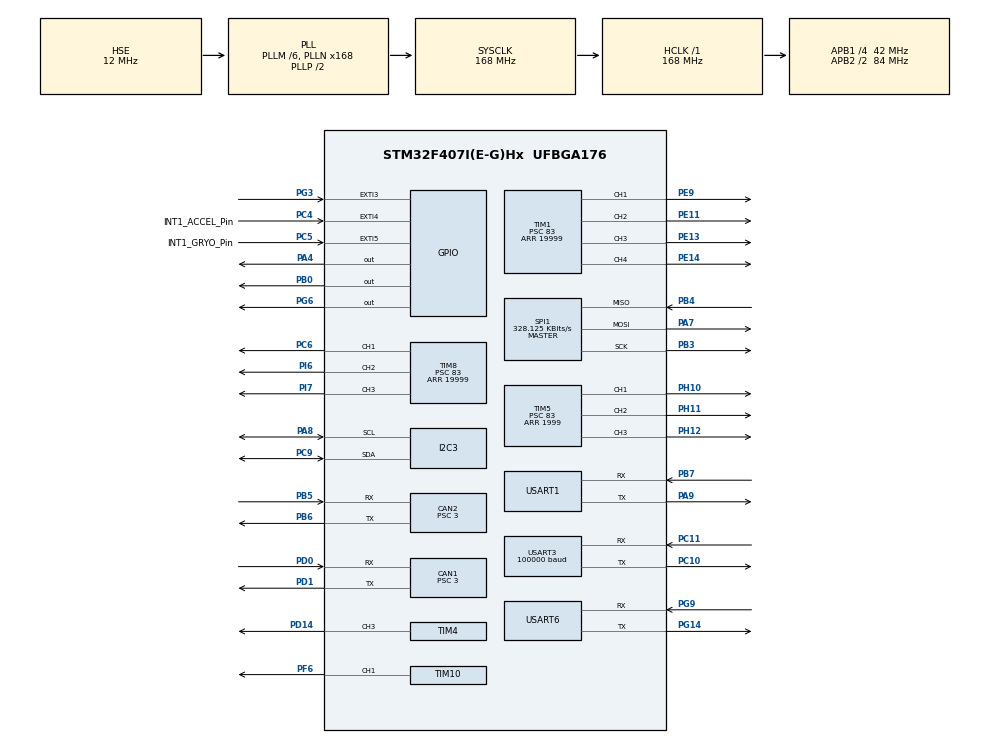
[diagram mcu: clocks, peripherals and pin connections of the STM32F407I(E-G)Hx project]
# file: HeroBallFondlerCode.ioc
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CAN1.BS1=CAN_BS1_10TQ
CAN1.BS2=CAN_BS2_3TQ
CAN1.CalculateBaudRate=1000000
CAN1.CalculateTimeBit=1000
CAN1.CalculateTimeQuantum=71.42857142857143
CAN1.Prescaler=3
CAN2.BS1=CAN_BS1_10TQ
CAN2.BS2=CAN_BS2_3TQ
CAN2.CalculateBaudRate=1000000
CAN2.CalculateTimeBit=1000
CAN2.CalculateTimeQuantum=71.42857142857143
CAN2.Prescaler=3
Dma.Request0=USART3_RX
Dma.Request1=USART1_TX
Dma.Request2=USART1_RX
Dma.Request3=USART6_RX
Dma.Request4=USART6_TX
Dma.Request5=TIM4_CH3
Dma.Request6=TIM5_CH1
Dma.Request7=TIM5_CH2
Dma.TIM4_CH3.5.Direction=DMA_PERIPH_TO_MEMORY
Dma.TIM4_CH3.5.FIFOMode=DMA_FIFOMODE_DISABLE
Dma.TIM4_CH3.5.Instance=DMA1_Stream7
Dma.TIM4_CH3.5.MemDataAlignment=DMA_MDATAALIGN_HALFWORD
Dma.TIM4_CH3.5.MemInc=DMA_MINC_ENABLE
Dma.TIM4_CH3.5.Mode=DMA_NORMAL
Dma.TIM4_CH3.5.PeriphDataAlignment=DMA_PDATAALIGN_HALFWORD
Dma.TIM4_CH3.5.PeriphInc=DMA_PINC_DISABLE
Dma.TIM4_CH3.5.Priority=DMA_PRIORITY_LOW
Dma.TIM5_CH1.6.Direction=DMA_PERIPH_TO_MEMORY
Dma.TIM5_CH1.6.FIFOMode=DMA_FIFOMODE_DISABLE
Dma.TIM5_CH1.6.Instance=DMA1_Stream2
Dma.TIM5_CH1.6.MemDataAlignment=DMA_MDATAALIGN_WORD
Dma.TIM5_CH1.6.MemInc=DMA_MINC_ENABLE
Dma.TIM5_CH1.6.Mode=DMA_NORMAL
Dma.TIM5_CH1.6.PeriphDataAlignment=DMA_PDATAALIGN_WORD
Dma.TIM5_CH1.6.PeriphInc=DMA_PINC_DISABLE
Dma.TIM5_CH1.6.Priority=DMA_PRIORITY_LOW
Dma.TIM5_CH2.7.Direction=DMA_PERIPH_TO_MEMORY
Dma.TIM5_CH2.7.FIFOMode=DMA_FIFOMODE_DISABLE
Dma.TIM5_CH2.7.Instance=DMA1_Stream4
Dma.TIM5_CH2.7.MemDataAlignment=DMA_MDATAALIGN_WORD
Dma.TIM5_CH2.7.MemInc=DMA_MINC_ENABLE
Dma.TIM5_CH2.7.Mode=DMA_NORMAL
Dma.TIM5_CH2.7.PeriphDataAlignment=DMA_PDATAALIGN_WORD
Dma.TIM5_CH2.7.PeriphInc=DMA_PINC_DISABLE
Dma.TIM5_CH2.7.Priority=DMA_PRIORITY_LOW
Dma.USART1_RX.2.Direction=DMA_PERIPH_TO_MEMORY
Dma.USART1_RX.2.FIFOMode=DMA_FIFOMODE_DISABLE
Dma.USART1_RX.2.Instance=DMA2_Stream2
Dma.USART1_RX.2.MemDataAlignment=DMA_MDATAALIGN_BYTE
Dma.USART1_RX.2.MemInc=DMA_MINC_ENABLE
Dma.USART1_RX.2.Mode=DMA_NORMAL
Dma.USART1_RX.2.PeriphDataAlignment=DMA_PDATAALIGN_BYTE
Dma.USART1_RX.2.PeriphInc=DMA_PINC_DISABLE
Dma.USART1_RX.2.Priority=DMA_PRIORITY_VERY_HIGH
Dma.USART1_TX.1.Direction=DMA_MEMORY_TO_PERIPH
Dma.USART1_TX.1.FIFOMode=DMA_FIFOMODE_DISABLE
Dma.USART1_TX.1.Instance=DMA2_Stream7
Dma.USART1_TX.1.MemDataAlignment=DMA_MDATAALIGN_BYTE
Dma.USART1_TX.1.MemInc=DMA_MINC_ENABLE
Dma.USART1_TX.1.Mode=DMA_NORMAL
Dma.USART1_TX.1.PeriphDataAlignment=DMA_PDATAALIGN_BYTE
Dma.USART1_TX.1.PeriphInc=DMA_PINC_DISABLE
Dma.USART1_TX.1.Priority=DMA_PRIORITY_VERY_HIGH
Dma.USART3_RX.0.Direction=DMA_PERIPH_TO_MEMORY
Dma.USART3_RX.0.FIFOMode=DMA_FIFOMODE_DISABLE
Dma.USART3_RX.0.Instance=DMA1_Stream1
Dma.USART3_RX.0.MemDataAlignment=DMA_MDATAALIGN_BYTE
Dma.USART3_RX.0.MemInc=DMA_MINC_ENABLE
Dma.USART3_RX.0.Mode=DMA_CIRCULAR
Dma.USART3_RX.0.PeriphDataAlignment=DMA_PDATAALIGN_BYTE
Dma.USART3_RX.0.PeriphInc=DMA_PINC_DISABLE
Dma.USART3_RX.0.Priority=DMA_PRIORITY_VERY_HIGH
Dma.USART6_RX.3.Direction=DMA_PERIPH_TO_MEMORY
Dma.USART6_RX.3.FIFOMode=DMA_FIFOMODE_DISABLE
Dma.USART6_RX.3.Instance=DMA2_Stream1
Dma.USART6_RX.3.MemDataAlignment=DMA_MDATAALIGN_BYTE
Dma.USART6_RX.3.MemInc=DMA_MINC_ENABLE
Dma.USART6_RX.3.Mode=DMA_NORMAL
Dma.USART6_RX.3.PeriphDataAlignment=DMA_PDATAALIGN_BYTE
Dma.USART6_RX.3.PeriphInc=DMA_PINC_DISABLE
Dma.USART6_RX.3.Priority=DMA_PRIORITY_VERY_HIGH
Dma.USART6_TX.4.Direction=DMA_MEMORY_TO_PERIPH
Dma.USART6_TX.4.FIFOMode=DMA_FIFOMODE_DISABLE
Dma.USART6_TX.4.Instance=DMA2_Stream6
Dma.USART6_TX.4.MemDataAlignment=DMA_MDATAALIGN_BYTE
Dma.USART6_TX.4.MemInc=DMA_MINC_ENABLE
Dma.USART6_TX.4.Mode=DMA_NORMAL
Dma.USART6_TX.4.PeriphDataAlignment=DMA_PDATAALIGN_BYTE
Dma.USART6_TX.4.PeriphInc=DMA_PINC_DISABLE
Dma.USART6_TX.4.Priority=DMA_PRIORITY_VERY_HIGH
FREERTOS.INCLUDE_pcTaskGetTaskName=1
FREERTOS.INCLUDE_xTaskGetHandle=1
FREERTOS.Tasks01=defaultTask,32,1024,TaskMain,Default,NULL,Dynamic,NULL,NULL;chassisTask,40,1124,TaskChassis,Default,NULL,Dynamic,NULL,NULL;IMUtempPIDtask,24,512,imu_temp_control_task,As weak,NULL,Dynamic,NULL,NULL;turretTask,40,1024,TaskTurret,Default,NULL,Dynamic,NULL,NULL
FREERTOS.configUSE_NEWLIB_REENTRANT=1
I2C3.I2C_Mode=I2C_Fast
Mcu.Family=STM32F4
Mcu.Name=STM32F407I(E-G)Hx
Mcu.Package=UFBGA176
NVIC.CAN1_RX0_IRQn=true\:5\:0\:false\:false\:true\:true\:true\:true\:true
NVIC.CAN2_RX0_IRQn=true\:5\:0\:false\:false\:true\:true\:true\:true\:true
NVIC.DMA1_Stream1_IRQn=true\:5\:0\:false\:false\:true\:true\:false\:true\:true
NVIC.DMA1_Stream2_IRQn=true\:5\:0\:false\:false\:true\:true\:false\:true\:true
NVIC.DMA1_Stream4_IRQn=true\:5\:0\:false\:false\:true\:true\:false\:true\:true
NVIC.DMA1_Stream7_IRQn=true\:5\:0\:false\:false\:true\:true\:false\:true\:true
NVIC.DMA2_Stream1_IRQn=true\:5\:0\:false\:false\:true\:true\:false\:true\:true
NVIC.DMA2_Stream2_IRQn=true\:5\:0\:false\:false\:true\:true\:false\:true\:true
NVIC.DMA2_Stream6_IRQn=true\:5\:0\:false\:false\:true\:true\:false\:true\:true
NVIC.DMA2_Stream7_IRQn=true\:5\:0\:false\:false\:true\:true\:false\:true\:true
NVIC.EXTI3_IRQn=true\:5\:0\:false\:false\:true\:true\:true\:true\:true
NVIC.EXTI4_IRQn=true\:5\:0\:false\:false\:true\:true\:true\:true\:true
NVIC.PriorityGroup=NVIC_PRIORITYGROUP_4
NVIC.USART1_IRQn=true\:5\:0\:false\:false\:true\:true\:true\:true\:true
NVIC.USART3_IRQn=true\:5\:0\:false\:false\:false\:true\:true\:true\:true
NVIC.USART6_IRQn=true\:5\:0\:false\:false\:true\:true\:true\:true\:true
PA13.Mode=Serial_Wire
PA13.Signal=SYS_JTMS-SWDIO
PA14.Mode=Serial_Wire
PA14.Signal=SYS_JTCK-SWCLK
PA4.Signal=GPIO_Output
PA7.Mode=Full_Duplex_Master
PA7.Signal=SPI1_MOSI
PA8.Mode=I2C
PA8.Signal=I2C3_SCL
PA9.Mode=Asynchronous
PA9.Signal=USART1_TX
PB0.Signal=GPIO_Output
PB3.Mode=Full_Duplex_Master
PB3.Signal=SPI1_SCK
PB4.Mode=Full_Duplex_Master
PB4.Signal=SPI1_MISO
PB5.Mode=CAN_Activate
PB5.Signal=CAN2_RX
PB6.Mode=CAN_Activate
PB6.Signal=CAN2_TX
PB7.Mode=Asynchronous
PB7.Signal=USART1_RX
PC10.Mode=Asynchronous
PC10.Signal=USART3_TX
PC11.Mode=Asynchronous
PC11.Signal=USART3_RX
PC4.GPIO_Label=INT1_ACCEL_Pin
PC4.Signal=GPXTI4
PC5.GPIO_Label=INT1_GRYO_Pin
PC5.Signal=GPXTI5
PC6.Signal=S_TIM8_CH1
PC9.Mode=I2C
PC9.Signal=I2C3_SDA
PD0.Mode=CAN_Activate
PD0.Signal=CAN1_RX
PD1.Mode=CAN_Activate
PD1.Signal=CAN1_TX
PD14.Signal=S_TIM4_CH3
PE11.Signal=S_TIM1_CH2
PE13.Signal=S_TIM1_CH3
PE14.Signal=S_TIM1_CH4
PE9.Signal=S_TIM1_CH1
PF6.GPIO_PuPd=GPIO_PULLUP
PF6.GPIO_Speed=GPIO_SPEED_FREQ_HIGH
PF6.Signal=S_TIM10_CH1
PG14.Mode=Asynchronous
PG14.Signal=USART6_TX
PG3.Signal=GPXTI3
PG6.Signal=GPIO_Output
PG9.Mode=Asynchronous
PG9.Signal=USART6_RX
PH0-OSC_IN.Mode=HSE-External-Oscillator
PH0-OSC_IN.Signal=RCC_OSC_IN
PH1-OSC_OUT.Mode=HSE-External-Oscillator
PH1-OSC_OUT.Signal=RCC_OSC_OUT
PH10.Signal=S_TIM5_CH1
PH11.Signal=S_TIM5_CH2
PH12.Signal=S_TIM5_CH3
PI6.Signal=S_TIM8_CH2
PI7.Signal=S_TIM8_CH3
ProjectManager.HeapSize=0x200
ProjectManager.StackSize=0x400
ProjectManager.TargetToolchain=STM32CubeIDE
RCC.48MHZClocksFreq_Value=84000000
RCC.AHBFreq_Value=168000000
RCC.APB1CLKDivider=RCC_HCLK_DIV4
RCC.APB1Freq_Value=42000000
RCC.APB1TimFreq_Value=84000000
RCC.APB2CLKDivider=RCC_HCLK_DIV2
RCC.APB2Freq_Value=84000000
RCC.APB2TimFreq_Value=168000000
RCC.CortexFreq_Value=168000000
RCC.EnbaleCSS=true
RCC.HCLKFreq_Value=168000000
RCC.HSE_VALUE=12000000
RCC.HSI_VALUE=16000000
RCC.LSE_VALUE=32768
RCC.PLLM=6
RCC.PLLN=168
RCC.PLLSourceVirtual=RCC_PLLSOURCE_HSE
RCC.SYSCLKFreq_VALUE=168000000
RCC.SYSCLKSource=RCC_SYSCLKSOURCE_PLLCLK
RCC.VCOOutputFreq_Value=336000000
SH.S_TIM10_CH1.0=TIM10_CH1,PWM Generation1 CH1
SH.S_TIM1_CH1.0=TIM1_CH1,PWM Generation1 CH1
SH.S_TIM1_CH2.0=TIM1_CH2,PWM Generation2 CH2
SH.S_TIM1_CH3.0=TIM1_CH3,PWM Generation3 CH3
SH.S_TIM1_CH4.0=TIM1_CH4,PWM Generation4 CH4
SH.S_TIM4_CH3.0=TIM4_CH3,PWM Generation3 CH3
SH.S_TIM5_CH1.0=TIM5_CH1,PWM Generation1 CH1
SH.S_TIM5_CH2.0=TIM5_CH2,PWM Generation2 CH2
SH.S_TIM5_CH3.0=TIM5_CH3,PWM Generation3 CH3
SH.S_TIM8_CH1.0=TIM8_CH1,PWM Generation1 CH1
SH.S_TIM8_CH2.0=TIM8_CH2,PWM Generation2 CH2
SH.S_TIM8_CH3.0=TIM8_CH3,PWM Generation3 CH3
SPI1.BaudRatePrescaler=SPI_BAUDRATEPRESCALER_256
SPI1.CLKPhase=SPI_PHASE_2EDGE
SPI1.CLKPolarity=SPI_POLARITY_HIGH
SPI1.CalculateBaudRate=328.125 KBits/s
SPI1.Direction=SPI_DIRECTION_2LINES
SPI1.Mode=SPI_MODE_MASTER
SPI1.VirtualType=VM_MASTER
TIM1.AutoReloadPreload=TIM_AUTORELOAD_PRELOAD_DISABLE
TIM1.Channel-PWM\ Generation1\ CH1=TIM_CHANNEL_1
TIM1.Channel-PWM\ Generation2\ CH2=TIM_CHANNEL_2
TIM1.Channel-PWM\ Generation3\ CH3=TIM_CHANNEL_3
TIM1.Channel-PWM\ Generation4\ CH4=TIM_CHANNEL_4
TIM1.Period=19999
TIM1.Prescaler=83
TIM1.Pulse-PWM\ Generation1\ CH1=0
TIM10.Channel=TIM_CHANNEL_1
TIM10.Period=4999
TIM4.AutoReloadPreload=TIM_AUTORELOAD_PRELOAD_ENABLE
TIM4.Channel-PWM\ Generation3\ CH3=TIM_CHANNEL_3
TIM4.Period=20999
TIM4.Prescaler=83
TIM4.Pulse-PWM\ Generation3\ CH3=10499
TIM5.Channel-PWM\ Generation1\ CH1=TIM_CHANNEL_1
TIM5.Channel-PWM\ Generation2\ CH2=TIM_CHANNEL_2
TIM5.Channel-PWM\ Generation3\ CH3=TIM_CHANNEL_3
TIM5.Period=1999
TIM5.Prescaler=83
TIM8.AutoReloadPreload=TIM_AUTORELOAD_PRELOAD_ENABLE
TIM8.Channel-PWM\ Generation1\ CH1=TIM_CHANNEL_1
TIM8.Channel-PWM\ Generation2\ CH2=TIM_CHANNEL_2
TIM8.Channel-PWM\ Generation3\ CH3=TIM_CHANNEL_3
TIM8.Period=19999
TIM8.Prescaler=83
USART1.VirtualMode=VM_ASYNC
USART3.BaudRate=100000
USART3.Parity=PARITY_EVEN
USART3.VirtualMode=VM_ASYNC
USART6.VirtualMode=VM_ASYNC
VP_FREERTOS_VS_CMSIS_V2.Mode=CMSIS_V2
VP_TIM10_VS_ClockSourceINT.Mode=Enable_Timer
VP_TIM4_VS_ClockSourceINT.Mode=Internal
board=custom

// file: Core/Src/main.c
/* USER CODE BEGIN Header */
/**
  ******************************************************************************
  * @file           : main.c
  * @brief          : Main program body
  ******************************************************************************
  * @attention
  *
  * Copyright (c) 2024 STMicroelectronics.
  * All rights reserved.
  *
  * This software is licensed under terms that can be found in the LICENSE file
  * in the root directory of this software component.
  * If no LICENSE file comes with this software, it is provided AS-IS.
  *
  ******************************************************************************
  */
/* USER CODE END Header */
#include "main.h"
#include "cmsis_os.h"

/* USER CODE BEGIN Includes */
//#include "CAN_receive.h"
#include "CAN.h"
#include "bsp_can.h"
#include "remote_control.h"
#include "bsp_rc.h"
#include "UART.h"
#include "stdio.h"
#include "stdarg.h"
#include "string.h"
#include "BMI088driver.h"
#include "pid.h"
#include "bsp_imu_pwm.h"
#include "ist8310driver.h"
#include "pwm.h"
#include "songs.h"
#include "buffer.h"
#include "math.h"
#include "driving.h"
#include "I2C.h"
/* USER CODE END Includes */

CAN_HandleTypeDef hcan1;
CAN_HandleTypeDef hcan2;

I2C_HandleTypeDef hi2c3;

SPI_HandleTypeDef hspi1;

TIM_HandleTypeDef htim1;
TIM_HandleTypeDef htim4;
TIM_HandleTypeDef htim5;
TIM_HandleTypeDef htim8;
TIM_HandleTypeDef htim10;
DMA_HandleTypeDef hdma_tim4_ch3;
DMA_HandleTypeDef hdma_tim5_ch1;
DMA_HandleTypeDef hdma_tim5_ch2;

UART_HandleTypeDef huart1;
UART_HandleTypeDef huart3;
UART_HandleTypeDef huart6;
DMA_HandleTypeDef hdma_usart1_tx;
DMA_HandleTypeDef hdma_usart1_rx;
DMA_HandleTypeDef hdma_usart3_rx;
DMA_HandleTypeDef hdma_usart6_rx;
DMA_HandleTypeDef hdma_usart6_tx;

/* Definitions for defaultTask */
osThreadId_t defaultTaskHandle;
const osThreadAttr_t defaultTask_attributes = {
  .name = "defaultTask",
  .stack_size = 1024 * 4,
  .priority = (osPriority_t) osPriorityAboveNormal,
};
/* Definitions for chassisTask */
osThreadId_t chassisTaskHandle;
const osThreadAttr_t chassisTask_attributes = {
  .name = "chassisTask",
  .stack_size = 1124 * 4,
  .priority = (osPriority_t) osPriorityHigh,
};
/* Definitions for IMUtempPIDtask */
osThreadId_t IMUtempPIDtaskHandle;
const osThreadAttr_t IMUtempPIDtask_attributes = {
  .name = "IMUtempPIDtask",
  .stack_size = 512 * 4,
  .priority = (osPriority_t) osPriorityNormal,
};
/* Definitions for turretTask */
osThreadId_t turretTaskHandle;
const osThreadAttr_t turretTask_attributes = {
  .name = "turretTask",
  .stack_size = 1024 * 4,
  .priority = (osPriority_t) osPriorityHigh,
};
/* USER CODE BEGIN PV */
const RC_ctrl_t *local_rc_ctrl;
//3.6 0.015, 4.2
PID_preset_t chassisPreset = {3.6, 0, 0};  //0.8f, 0.025f, 0.95f   {1.6, 0.045, 0.10}; 32 0.4
PID_preset_t yawPresetCurrentRPM = {46, 10.0, 16.4};

PID_preset_t yawPresetVoltageRPM = {300, 0, 0};

PID_preset_t yawPresetCurrentPosition = {12, 1, 0.0};
PID_preset_t yawPresetVoltagePosition = {36, 0.3, 0.0};

int16_t joystickTunner = 0;

// 50, 0, 110
PID_preset_t pitchPresetVoltagePosition = {70.0, 0.0, 421.0};
PID_preset_t indexerPreset = {1.1f, 0.02f, -2.4f};
PID_preset_t shooterPreset = {1.20f, 0.12f, 1.60f};
PID_preset_t powerPreset = {0, 0.000000000001, 0};
PID_preset_t flywheel = {12, 0, 0};
PID_preset_t customPreset = {0, 0, 0};

int target = 2000;
float JoulesBuffer = 60;
float maxPower = 0;

uint8_t currentGameStatus = 0;
uint8_t calibration = 0;
uint8_t rotationTime = 0;
uint8_t shootingPhase = 0;
uint8_t songPhase = 0;
uint8_t firingStages = 0;
uint8_t SHOOT = 0;

uint8_t setY = 70;
uint8_t setX = 120;

float mouseXScaler = 0.85;
float mouseYScaler = 0.17;

extern game_status_t game_status;
extern power_heat_data_t power_heat_data;
extern robot_status_t robot_status;
extern pc_control_t pc_control;
extern cv_receive_t cv_receive;

float calcChassisPower = 0;

/* USER CODE END PV */

void SystemClock_Config(void);
static void MX_GPIO_Init(void);
static void MX_DMA_Init(void);
static void MX_CAN1_Init(void);
static void MX_CAN2_Init(void);
static void MX_SPI1_Init(void);
static void MX_TIM4_Init(void);
static void MX_USART1_UART_Init(void);
static void MX_USART6_UART_Init(void);
static void MX_TIM1_Init(void);
static void MX_TIM8_Init(void);
static void MX_USART3_UART_Init(void);
static void MX_TIM10_Init(void);
static void MX_I2C3_Init(void);
static void MX_TIM5_Init(void);
void TaskMain(void *argument);
void TaskChassis(void *argument);
void imu_temp_control_task(void *argument);
void TaskTurret(void *argument);

int main(void)
{

  /* MCU Configuration--------------------------------------------------------*/

  /* Reset of all peripherals, Initializes the Flash interface and the Systick. */
  HAL_Init();

  /* Configure the system clock */
  SystemClock_Config();

  /* Initialize all configured peripherals */
  MX_GPIO_Init();
  MX_DMA_Init();
  MX_CAN1_Init();
  MX_CAN2_Init();
  MX_SPI1_Init();
  MX_TIM4_Init();
  MX_USART1_UART_Init();
  MX_USART6_UART_Init();
  MX_TIM1_Init();
  MX_TIM8_Init();
  MX_USART3_UART_Init();
  MX_TIM10_Init();
  MX_I2C3_Init();
  MX_TIM5_Init();
  /* USER CODE BEGIN 2 */
  can_filter_init();
  remote_control_init();
  usart_Init();
  local_rc_ctrl = get_remote_control_point();
  //__HAL_UART_ENABLE_IT(&huart1,UART_IT_IDLE);
  /* USER CODE END 2 */

  /* Init scheduler */
  osKernelInitialize();

  /* Create the thread(s) */
  /* creation of defaultTask */
  defaultTaskHandle = osThreadNew(TaskMain, NULL, &defaultTask_attributes);

  /* creation of chassisTask */
  chassisTaskHandle = osThreadNew(TaskChassis, NULL, &chassisTask_attributes);

  /* creation of IMUtempPIDtask */
  IMUtempPIDtaskHandle = osThreadNew(imu_temp_control_task, NULL, &IMUtempPIDtask_attributes);

  /* creation of turretTask */
  turretTaskHandle = osThreadNew(TaskTurret, NULL, &turretTask_attributes);

  /* Start scheduler */
  osKernelStart();

  /* We should never get here as control is now taken by the scheduler */

  /* Infinite loop */
  while (1)
  {

  }
}

void SystemClock_Config(void)
{
  RCC_OscInitTypeDef RCC_OscInitStruct = {0};
  RCC_ClkInitTypeDef RCC_ClkInitStruct = {0};

  /** Configure the main internal regulator output voltage
  */
  __HAL_RCC_PWR_CLK_ENABLE();
  __HAL_PWR_VOLTAGESCALING_CONFIG(PWR_REGULATOR_VOLTAGE_SCALE1);

  /** Initializes the RCC Oscillators according to the specified parameters
  * in the RCC_OscInitTypeDef structure.
  */
  RCC_OscInitStruct.OscillatorType = RCC_OSCILLATORTYPE_HSE;
  RCC_OscInitStruct.HSEState = RCC_HSE_ON;
  RCC_OscInitStruct.PLL.PLLState = RCC_PLL_ON;
  RCC_OscInitStruct.PLL.PLLSource = RCC_PLLSOURCE_HSE;
  RCC_OscInitStruct.PLL.PLLM = 6;
  RCC_OscInitStruct.PLL.PLLN = 168;
  RCC_OscInitStruct.PLL.PLLP = RCC_PLLP_DIV2;
  RCC_OscInitStruct.PLL.PLLQ = 4;
  if (HAL_RCC_OscConfig(&RCC_OscInitStruct) != HAL_OK)
  {
    Error_Handler();
  }

  /** Initializes the CPU, AHB and APB buses clocks
  */
  RCC_ClkInitStruct.ClockType = RCC_CLOCKTYPE_HCLK|RCC_CLOCKTYPE_SYSCLK
                              |RCC_CLOCKTYPE_PCLK1|RCC_CLOCKTYPE_PCLK2;
  RCC_ClkInitStruct.SYSCLKSource = RCC_SYSCLKSOURCE_PLLCLK;
  RCC_ClkInitStruct.AHBCLKDivider = RCC_SYSCLK_DIV1;
  RCC_ClkInitStruct.APB1CLKDivider = RCC_HCLK_DIV4;
  RCC_ClkInitStruct.APB2CLKDivider = RCC_HCLK_DIV2;

  if (HAL_RCC_ClockConfig(&RCC_ClkInitStruct, FLASH_LATENCY_5) != HAL_OK)
  {
    Error_Handler();
  }

  /** Enables the Clock Security System
  */
  HAL_RCC_EnableCSS();
}

static void MX_CAN1_Init(void)
{

  hcan1.Instance = CAN1;
  hcan1.Init.Prescaler = 3;
  hcan1.Init.Mode = CAN_MODE_NORMAL;
  hcan1.Init.SyncJumpWidth = CAN_SJW_1TQ;
  hcan1.Init.TimeSeg1 = CAN_BS1_10TQ;
  hcan1.Init.TimeSeg2 = CAN_BS2_3TQ;
  hcan1.Init.TimeTriggeredMode = DISABLE;
  hcan1.Init.AutoBusOff = DISABLE;
  hcan1.Init.AutoWakeUp = DISABLE;
  hcan1.Init.AutoRetransmission = DISABLE;
  hcan1.Init.ReceiveFifoLocked = DISABLE;
  hcan1.Init.TransmitFifoPriority = DISABLE;
  if (HAL_CAN_Init(&hcan1) != HAL_OK)
  {
    Error_Handler();
  }

}

static void MX_CAN2_Init(void)
{

  hcan2.Instance = CAN2;
  hcan2.Init.Prescaler = 3;
  hcan2.Init.Mode = CAN_MODE_NORMAL;
  hcan2.Init.SyncJumpWidth = CAN_SJW_1TQ;
  hcan2.Init.TimeSeg1 = CAN_BS1_10TQ;
  hcan2.Init.TimeSeg2 = CAN_BS2_3TQ;
  hcan2.Init.TimeTriggeredMode = DISABLE;
  hcan2.Init.AutoBusOff = DISABLE;
  hcan2.Init.AutoWakeUp = DISABLE;
  hcan2.Init.AutoRetransmission = DISABLE;
  hcan2.Init.ReceiveFifoLocked = DISABLE;
  hcan2.Init.TransmitFifoPriority = DISABLE;
  if (HAL_CAN_Init(&hcan2) != HAL_OK)
  {
    Error_Handler();
  }

}

static void MX_I2C3_Init(void)
{

  hi2c3.Instance = I2C3;
  hi2c3.Init.ClockSpeed = 400000;
  hi2c3.Init.DutyCycle = I2C_DUTYCYCLE_2;
  hi2c3.Init.OwnAddress1 = 0;
  hi2c3.Init.AddressingMode = I2C_ADDRESSINGMODE_7BIT;
  hi2c3.Init.DualAddressMode = I2C_DUALADDRESS_DISABLE;
  hi2c3.Init.OwnAddress2 = 0;
  hi2c3.Init.GeneralCallMode = I2C_GENERALCALL_DISABLE;
  hi2c3.Init.NoStretchMode = I2C_NOSTRETCH_DISABLE;
  if (HAL_I2C_Init(&hi2c3) != HAL_OK)
  {
    Error_Handler();
  }

}

static void MX_SPI1_Init(void)
{

  /* SPI1 parameter configuration*/
  hspi1.Instance = SPI1;
  hspi1.Init.Mode = SPI_MODE_MASTER;
  hspi1.Init.Direction = SPI_DIRECTION_2LINES;
  hspi1.Init.DataSize = SPI_DATASIZE_8BIT;
  hspi1.Init.CLKPolarity = SPI_POLARITY_HIGH;
  hspi1.Init.CLKPhase = SPI_PHASE_2EDGE;
  hspi1.Init.NSS = SPI_NSS_SOFT;
  hspi1.Init.BaudRatePrescaler = SPI_BAUDRATEPRESCALER_256;
  hspi1.Init.FirstBit = SPI_FIRSTBIT_MSB;
  hspi1.Init.TIMode = SPI_TIMODE_DISABLE;
  hspi1.Init.CRCCalculation = SPI_CRCCALCULATION_DISABLE;
  hspi1.Init.CRCPolynomial = 10;
  if (HAL_SPI_Init(&hspi1) != HAL_OK)
  {
    Error_Handler();
  }

}

static void MX_TIM1_Init(void)
{

  TIM_MasterConfigTypeDef sMasterConfig = {0};
  TIM_OC_InitTypeDef sConfigOC = {0};
  TIM_BreakDeadTimeConfigTypeDef sBreakDeadTimeConfig = {0};

  htim1.Instance = TIM1;
  htim1.Init.Prescaler = 83;
  htim1.Init.CounterMode = TIM_COUNTERMODE_UP;
  htim1.Init.Period = 19999;
  htim1.Init.ClockDivision = TIM_CLOCKDIVISION_DIV1;
  htim1.Init.RepetitionCounter = 0;
  htim1.Init.AutoReloadPreload = TIM_AUTORELOAD_PRELOAD_DISABLE;
  if (HAL_TIM_PWM_Init(&htim1) != HAL_OK)
  {
    Error_Handler();
  }
  sMasterConfig.MasterOutputTrigger = TIM_TRGO_RESET;
  sMasterConfig.MasterSlaveMode = TIM_MASTERSLAVEMODE_DISABLE;
  if (HAL_TIMEx_MasterConfigSynchronization(&htim1, &sMasterConfig) != HAL_OK)
  {
    Error_Handler();
  }
  sConfigOC.OCMode = TIM_OCMODE_PWM1;
  sConfigOC.Pulse = 0;
  sConfigOC.OCPolarity = TIM_OCPOLARITY_HIGH;
  sConfigOC.OCNPolarity = TIM_OCNPOLARITY_HIGH;
  sConfigOC.OCFastMode = TIM_OCFAST_DISABLE;
  sConfigOC.OCIdleState = TIM_OCIDLESTATE_RESET;
  sConfigOC.OCNIdleState = TIM_OCNIDLESTATE_RESET;
  if (HAL_TIM_PWM_ConfigChannel(&htim1, &sConfigOC, TIM_CHANNEL_1) != HAL_OK)
  {
    Error_Handler();
  }
  if (HAL_TIM_PWM_ConfigChannel(&htim1, &sConfigOC, TIM_CHANNEL_2) != HAL_OK)
  {
    Error_Handler();
  }
  if (HAL_TIM_PWM_ConfigChannel(&htim1, &sConfigOC, TIM_CHANNEL_3) != HAL_OK)
  {
    Error_Handler();
  }
  if (HAL_TIM_PWM_ConfigChannel(&htim1, &sConfigOC, TIM_CHANNEL_4) != HAL_OK)
  {
    Error_Handler();
  }
  sBreakDeadTimeConfig.OffStateRunMode = TIM_OSSR_DISABLE;
  sBreakDeadTimeConfig.OffStateIDLEMode = TIM_OSSI_DISABLE;
  sBreakDeadTimeConfig.LockLevel = TIM_LOCKLEVEL_OFF;
  sBreakDeadTimeConfig.DeadTime = 0;
  sBreakDeadTimeConfig.BreakState = TIM_BREAK_DISABLE;
  sBreakDeadTimeConfig.BreakPolarity = TIM_BREAKPOLARITY_HIGH;
  sBreakDeadTimeConfig.AutomaticOutput = TIM_AUTOMATICOUTPUT_DISABLE;
  if (HAL_TIMEx_ConfigBreakDeadTime(&htim1, &sBreakDeadTimeConfig) != HAL_OK)
  {
    Error_Handler();
  }
  HAL_TIM_MspPostInit(&htim1);

}

static void MX_TIM4_Init(void)
{

  TIM_ClockConfigTypeDef sClockSourceConfig = {0};
  TIM_MasterConfigTypeDef sMasterConfig = {0};
  TIM_OC_InitTypeDef sConfigOC = {0};

  htim4.Instance = TIM4;
  htim4.Init.Prescaler = 83;
  htim4.Init.CounterMode = TIM_COUNTERMODE_UP;
  htim4.Init.Period = 20999;
  htim4.Init.ClockDivision = TIM_CLOCKDIVISION_DIV1;
  htim4.Init.AutoReloadPreload = TIM_AUTORELOAD_PRELOAD_ENABLE;
  if (HAL_TIM_Base_Init(&htim4) != HAL_OK)
  {
    Error_Handler();
  }
  sClockSourceConfig.ClockSource = TIM_CLOCKSOURCE_INTERNAL;
  if (HAL_TIM_ConfigClockSource(&htim4, &sClockSourceConfig) != HAL_OK)
  {
    Error_Handler();
  }
  if (HAL_TIM_PWM_Init(&htim4) != HAL_OK)
  {
    Error_Handler();
  }
  sMasterConfig.MasterOutputTrigger = TIM_TRGO_RESET;
  sMasterConfig.MasterSlaveMode = TIM_MASTERSLAVEMODE_DISABLE;
  if (HAL_TIMEx_MasterConfigSynchronization(&htim4, &sMasterConfig) != HAL_OK)
  {
    Error_Handler();
  }
  sConfigOC.OCMode = TIM_OCMODE_PWM1;
  sConfigOC.Pulse = 10499;
  sConfigOC.OCPolarity = TIM_OCPOLARITY_HIGH;
  sConfigOC.OCFastMode = TIM_OCFAST_DISABLE;
  if (HAL_TIM_PWM_ConfigChannel(&htim4, &sConfigOC, TIM_CHANNEL_3) != HAL_OK)
  {
    Error_Handler();
  }
  HAL_TIM_MspPostInit(&htim4);

}

static void MX_TIM5_Init(void)
{

  TIM_MasterConfigTypeDef sMasterConfig = {0};
  TIM_OC_InitTypeDef sConfigOC = {0};

  htim5.Instance = TIM5;
  htim5.Init.Prescaler = 83;
  htim5.Init.CounterMode = TIM_COUNTERMODE_UP;
  htim5.Init.Period = 1999;
  htim5.Init.ClockDivision = TIM_CLOCKDIVISION_DIV1;
  htim5.Init.AutoReloadPreload = TIM_AUTORELOAD_PRELOAD_DISABLE;
  if (HAL_TIM_PWM_Init(&htim5) != HAL_OK)
  {
    Error_Handler();
  }
  sMasterConfig.MasterOutputTrigger = TIM_TRGO_RESET;
  sMasterConfig.MasterSlaveMode = TIM_MASTERSLAVEMODE_DISABLE;
  if (HAL_TIMEx_MasterConfigSynchronization(&htim5, &sMasterConfig) != HAL_OK)
  {
    Error_Handler();
  }
  sConfigOC.OCMode = TIM_OCMODE_PWM1;
  sConfigOC.Pulse = 0;
  sConfigOC.OCPolarity = TIM_OCPOLARITY_HIGH;
  sConfigOC.OCFastMode = TIM_OCFAST_DISABLE;
  if (HAL_TIM_PWM_ConfigChannel(&htim5, &sConfigOC, TIM_CHANNEL_1) != HAL_OK)
  {
    Error_Handler();
  }
  if (HAL_TIM_PWM_ConfigChannel(&htim5, &sConfigOC, TIM_CHANNEL_2) != HAL_OK)
  {
    Error_Handler();
  }
  if (HAL_TIM_PWM_ConfigChannel(&htim5, &sConfigOC, TIM_CHANNEL_3) != HAL_OK)
  {
    Error_Handler();
  }
  HAL_TIM_MspPostInit(&htim5);

}

static void MX_TIM8_Init(void)
{

  TIM_MasterConfigTypeDef sMasterConfig = {0};
  TIM_OC_InitTypeDef sConfigOC = {0};
  TIM_BreakDeadTimeConfigTypeDef sBreakDeadTimeConfig = {0};

  htim8.Instance = TIM8;
  htim8.Init.Prescaler = 83;
  htim8.Init.CounterMode = TIM_COUNTERMODE_UP;
  htim8.Init.Period = 19999;
  htim8.Init.ClockDivision = TIM_CLOCKDIVISION_DIV1;
  htim8.Init.RepetitionCounter = 0;
  htim8.Init.AutoReloadPreload = TIM_AUTORELOAD_PRELOAD_ENABLE;
  if (HAL_TIM_PWM_Init(&htim8) != HAL_OK)
  {
    Error_Handler();
  }
  sMasterConfig.MasterOutputTrigger = TIM_TRGO_RESET;
  sMasterConfig.MasterSlaveMode = TIM_MASTERSLAVEMODE_DISABLE;
  if (HAL_TIMEx_MasterConfigSynchronization(&htim8, &sMasterConfig) != HAL_OK)
  {
    Error_Handler();
  }
  sConfigOC.OCMode = TIM_OCMODE_PWM1;
  sConfigOC.Pulse = 0;
  sConfigOC.OCPolarity = TIM_OCPOLARITY_HIGH;
  sConfigOC.OCNPolarity = TIM_OCNPOLARITY_HIGH;
  sConfigOC.OCFastMode = TIM_OCFAST_DISABLE;
  sConfigOC.OCIdleState = TIM_OCIDLESTATE_RESET;
  sConfigOC.OCNIdleState = TIM_OCNIDLESTATE_RESET;
  if (HAL_TIM_PWM_ConfigChannel(&htim8, &sConfigOC, TIM_CHANNEL_1) != HAL_OK)
  {
    Error_Handler();
  }
  if (HAL_TIM_PWM_ConfigChannel(&htim8, &sConfigOC, TIM_CHANNEL_2) != HAL_OK)
  {
    Error_Handler();
  }
  if (HAL_TIM_PWM_ConfigChannel(&htim8, &sConfigOC, TIM_CHANNEL_3) != HAL_OK)
  {
    Error_Handler();
  }
  sBreakDeadTimeConfig.OffStateRunMode = TIM_OSSR_DISABLE;
  sBreakDeadTimeConfig.OffStateIDLEMode = TIM_OSSI_DISABLE;
  sBreakDeadTimeConfig.LockLevel = TIM_LOCKLEVEL_OFF;
  sBreakDeadTimeConfig.DeadTime = 0;
  sBreakDeadTimeConfig.BreakState = TIM_BREAK_DISABLE;
  sBreakDeadTimeConfig.BreakPolarity = TIM_BREAKPOLARITY_HIGH;
  sBreakDeadTimeConfig.AutomaticOutput = TIM_AUTOMATICOUTPUT_DISABLE;
  if (HAL_TIMEx_ConfigBreakDeadTime(&htim8, &sBreakDeadTimeConfig) != HAL_OK)
  {
    Error_Handler();
  }
  HAL_TIM_MspPostInit(&htim8);

}

static void MX_TIM10_Init(void)
{

  TIM_OC_InitTypeDef sConfigOC = {0};

  htim10.Instance = TIM10;
  htim10.Init.Prescaler = 0;
  htim10.Init.CounterMode = TIM_COUNTERMODE_UP;
  htim10.Init.Period = 4999;
  htim10.Init.ClockDivision = TIM_CLOCKDIVISION_DIV1;
  htim10.Init.AutoReloadPreload = TIM_AUTORELOAD_PRELOAD_DISABLE;
  if (HAL_TIM_Base_Init(&htim10) != HAL_OK)
  {
    Error_Handler();
  }
  if (HAL_TIM_PWM_Init(&htim10) != HAL_OK)
  {
    Error_Handler();
  }
  sConfigOC.OCMode = TIM_OCMODE_PWM1;
  sConfigOC.Pulse = 0;
  sConfigOC.OCPolarity = TIM_OCPOLARITY_HIGH;
  sConfigOC.OCFastMode = TIM_OCFAST_DISABLE;
  if (HAL_TIM_PWM_ConfigChannel(&htim10, &sConfigOC, TIM_CHANNEL_1) != HAL_OK)
  {
    Error_Handler();
  }
  HAL_TIM_MspPostInit(&htim10);

}

static void MX_USART1_UART_Init(void)
{

  huart1.Instance = USART1;
  huart1.Init.BaudRate = 115200;
  huart1.Init.WordLength = UART_WORDLENGTH_8B;
  huart1.Init.StopBits = UART_STOPBITS_1;
  huart1.Init.Parity = UART_PARITY_NONE;
  huart1.Init.Mode = UART_MODE_TX_RX;
  huart1.Init.HwFlowCtl = UART_HWCONTROL_NONE;
  huart1.Init.OverSampling = UART_OVERSAMPLING_16;
  if (HAL_UART_Init(&huart1) != HAL_OK)
  {
    Error_Handler();
  }

}

static void MX_USART3_UART_Init(void)
{

  huart3.Instance = USART3;
  huart3.Init.BaudRate = 100000;
  huart3.Init.WordLength = UART_WORDLENGTH_8B;
  huart3.Init.StopBits = UART_STOPBITS_1;
  huart3.Init.Parity = UART_PARITY_EVEN;
  huart3.Init.Mode = UART_MODE_TX_RX;
  huart3.Init.HwFlowCtl = UART_HWCONTROL_NONE;
  huart3.Init.OverSampling = UART_OVERSAMPLING_16;
  if (HAL_UART_Init(&huart3) != HAL_OK)
  {
    Error_Handler();
  }

}

static void MX_USART6_UART_Init(void)
{

  huart6.Instance = USART6;
  huart6.Init.BaudRate = 115200;
  huart6.Init.WordLength = UART_WORDLENGTH_8B;
  huart6.Init.StopBits = UART_STOPBITS_1;
  huart6.Init.Parity = UART_PARITY_NONE;
  huart6.Init.Mode = UART_MODE_TX_RX;
  huart6.Init.HwFlowCtl = UART_HWCONTROL_NONE;
  huart6.Init.OverSampling = UART_OVERSAMPLING_16;
  if (HAL_UART_Init(&huart6) != HAL_OK)
  {
    Error_Handler();
  }

}

static void MX_DMA_Init(void)
{

  /* DMA controller clock enable */
  __HAL_RCC_DMA1_CLK_ENABLE();
  __HAL_RCC_DMA2_CLK_ENABLE();

  /* DMA interrupt init */
  /* DMA1_Stream1_IRQn interrupt configuration */
  HAL_NVIC_SetPriority(DMA1_Stream1_IRQn, 5, 0);
  HAL_NVIC_EnableIRQ(DMA1_Stream1_IRQn);
  /* DMA1_Stream2_IRQn interrupt configuration */
  HAL_NVIC_SetPriority(DMA1_Stream2_IRQn, 5, 0);
  HAL_NVIC_EnableIRQ(DMA1_Stream2_IRQn);
  /* DMA1_Stream4_IRQn interrupt configuration */
  HAL_NVIC_SetPriority(DMA1_Stream4_IRQn, 5, 0);
  HAL_NVIC_EnableIRQ(DMA1_Stream4_IRQn);
  /* DMA1_Stream7_IRQn interrupt configuration */
  HAL_NVIC_SetPriority(DMA1_Stream7_IRQn, 5, 0);
  HAL_NVIC_EnableIRQ(DMA1_Stream7_IRQn);
  /* DMA2_Stream1_IRQn interrupt configuration */
  HAL_NVIC_SetPriority(DMA2_Stream1_IRQn, 5, 0);
  HAL_NVIC_EnableIRQ(DMA2_Stream1_IRQn);
  /* DMA2_Stream2_IRQn interrupt configuration */
  HAL_NVIC_SetPriority(DMA2_Stream2_IRQn, 5, 0);
  HAL_NVIC_EnableIRQ(DMA2_Stream2_IRQn);
  /* DMA2_Stream6_IRQn interrupt configuration */
  HAL_NVIC_SetPriority(DMA2_Stream6_IRQn, 5, 0);
  HAL_NVIC_EnableIRQ(DMA2_Stream6_IRQn);
  /* DMA2_Stream7_IRQn interrupt configuration */
  HAL_NVIC_SetPriority(DMA2_Stream7_IRQn, 5, 0);
  HAL_NVIC_EnableIRQ(DMA2_Stream7_IRQn);

}

static void MX_GPIO_Init(void)
{
  GPIO_InitTypeDef GPIO_InitStruct = {0};

  /* GPIO Ports Clock Enable */
  __HAL_RCC_GPIOB_CLK_ENABLE();
  __HAL_RCC_GPIOG_CLK_ENABLE();
  __HAL_RCC_GPIOA_CLK_ENABLE();
  __HAL_RCC_GPIOD_CLK_ENABLE();
  __HAL_RCC_GPIOC_CLK_ENABLE();
  __HAL_RCC_GPIOI_CLK_ENABLE();
  __HAL_RCC_GPIOH_CLK_ENABLE();
  __HAL_RCC_GPIOF_CLK_ENABLE();
  __HAL_RCC_GPIOE_CLK_ENABLE();

  /*Configure GPIO pin Output Level */
  HAL_GPIO_WritePin(GPIOG, GPIO_PIN_6, GPIO_PIN_RESET);

  /*Configure GPIO pin Output Level */
  HAL_GPIO_WritePin(GPIOA, GPIO_PIN_4, GPIO_PIN_RESET);

  /*Configure GPIO pin Output Level */
  HAL_GPIO_WritePin(GPIOB, GPIO_PIN_0, GPIO_PIN_RESET);

  /*Configure GPIO pin : PG6 */
  GPIO_InitStruct.Pin = GPIO_PIN_6;
  GPIO_InitStruct.Mode = GPIO_MODE_OUTPUT_PP;
  GPIO_InitStruct.Pull = GPIO_NOPULL;
  GPIO_InitStruct.Speed = GPIO_SPEED_FREQ_LOW;
  HAL_GPIO_Init(GPIOG, &GPIO_InitStruct);

  /*Configure GPIO pin : PG3 */
  GPIO_InitStruct.Pin = GPIO_PIN_3;
  GPIO_InitStruct.Mode = GPIO_MODE_IT_RISING;
  GPIO_InitStruct.Pull = GPIO_NOPULL;
  HAL_GPIO_Init(GPIOG, &GPIO_InitStruct);

  /*Configure GPIO pin : PA4 */
  GPIO_InitStruct.Pin = GPIO_PIN_4;
  GPIO_InitStruct.Mode = GPIO_MODE_OUTPUT_PP;
  GPIO_InitStruct.Pull = GPIO_NOPULL;
  GPIO_InitStruct.Speed = GPIO_SPEED_FREQ_LOW;
  HAL_GPIO_Init(GPIOA, &GPIO_InitStruct);

  /*Configure GPIO pins : INT1_ACCEL_Pin_Pin INT1_GRYO_Pin_Pin */
  GPIO_InitStruct.Pin = INT1_ACCEL_Pin_Pin|INT1_GRYO_Pin_Pin;
  GPIO_InitStruct.Mode = GPIO_MODE_IT_RISING;
  GPIO_InitStruct.Pull = GPIO_NOPULL;
  HAL_GPIO_Init(GPIOC, &GPIO_InitStruct);

  /*Configure GPIO pin : PB0 */
  GPIO_InitStruct.Pin = GPIO_PIN_0;
  GPIO_InitStruct.Mode = GPIO_MODE_OUTPUT_PP;
  GPIO_InitStruct.Pull = GPIO_NOPULL;
  GPIO_InitStruct.Speed = GPIO_SPEED_FREQ_LOW;
  HAL_GPIO_Init(GPIOB, &GPIO_InitStruct);

  /* EXTI interrupt init*/
  HAL_NVIC_SetPriority(EXTI3_IRQn, 5, 0);
  HAL_NVIC_EnableIRQ(EXTI3_IRQn);

  HAL_NVIC_SetPriority(EXTI4_IRQn, 5, 0);
  HAL_NVIC_EnableIRQ(EXTI4_IRQn);

}

void TaskMain(void *argument)
{
  /* USER CODE BEGIN 5 */
  /* Infinite loop */
	int16_t aimingCounter = 0;
	int16_t firingCounter = 0;

	// LED_PWM_Start();
	// HAL_GPIO_WritePin(GPIOH, GPIO_PIN_10, 1);
	// __HAL_TIM_PRESCALER(&htim4, 2);
	// HAL_TIM_PWM_Start(&htim4, TIM_CHANNEL_3);
	// HAL_TIM_Base_Start(&htim4);
	if (BMI088_accel_init()) {
		//usart_printf("WARNING - BMI088 accelerometer init failed \r\n");
	}
	if (BMI088_gyro_init()) {
		usart_printf("WARNING - BMI088 gyroscope init failed \r\n");
	}
	if (ist8310_init()) {
		usart_printf("WARNING - IST8310 compass init failed \r\n");
	}
	CAN_defineMotor(Bus2, M3508, 1);
	CAN_defineMotor(Bus2, M2006, 2);
	CAN_defineMotor(Bus2, GM6020, 1);

	osDelay(150);

	// HAL_TIM_PWM_Stop(&htim4, TIM_CHANNEL_3);
	JoulesBuffer = 60;
	for(;;) {

		PWMOutput(LED, 2, 1);
		PWMInitialize(LED, FR, 2, 0.5);
		PWMOutput(Buzzer, 1, 500);
		PWMInitialize(Buzzer, FR, 1, 0.001);
		PWMOff(Buzzer, 1);
		osDelay(5);

	}
  /* USER CODE END 5 */
}

void TaskChassis(void *argument)
{
  /* USER CODE BEGIN TaskChassis */

	PWMInit(&htim1, &htim4, &htim5, &htim8);

    int16_t rcRPM[4] = {0,0,0,0};                              // maps rc percentage reading to motors, assuming we're running M3508s at max 469RPM

	// int8_t indexCounter = 0;
	// int32_t motorEncoderCounter = 0;
    //int16_t targetRPM[4] = {0,0,0,0};

  /* Infinite loop */
    for(;;) {

	    for (int i = 0; i < 4; i++) {
	        rcRPM[i] = getRCchannel(i) * 13.645f;              // 13.645 = 469 / 187 / 660 * 3591, 660 = max reading in one direction
	    }
	    int16_t ballsPerSecond = 3;

		PWMOutput(LED, 3, 1);
		PWMInitialize(LED, FR, 3, 0.999);

	    if (HAL_GPIO_ReadPin(GPIOA, GPIO_PIN_0) == 0) {
			setMotorRPM(Bus2, M2006, 2, 2160*ballsPerSecond, indexerPreset);
			setMotorRPM(Bus2, M3508, 1, -2000, chassisPreset);
			PWMOn(LED, 3);
			PWMOff(LED, 2);
	    } else {
			setMotorRPM(Bus2, M2006, 2, 0, indexerPreset);
			setMotorRPM(Bus2, M3508, 1, 0, chassisPreset);
			PWMOff(LED, 3);
			PWMOn(LED, 2);
	    }

		PWMTimerStarter();
		RCkeysRefresh();
        osDelay(5);
    }
  /* USER CODE END TaskChassis */
}

__weak void imu_temp_control_task(void *argument)
{
  for(;;)
  {
    osDelay(1);
  }
}

void TaskTurret(void *argument)
{
  /* USER CODE BEGIN TaskTurret */
	// JoulesBuffer = 60;
  /* Infinite loop */
	for(;;)
	{
		osDelay(5);
	}
  /* USER CODE END TaskTurret */
}

void Error_Handler(void)
{
  __disable_irq();
  while (1)
  {
  }
}
